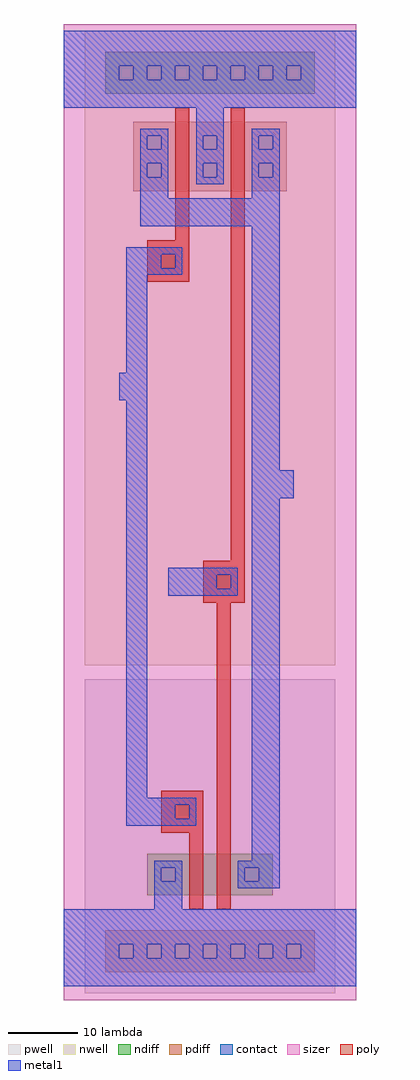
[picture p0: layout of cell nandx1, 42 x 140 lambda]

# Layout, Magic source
magic
tech concept
<< sizer >>
rect 0 0 42 140
<< metal1 >>
rect 0 134 42 139
rect 0 132 8 134
rect 10 132 12 134
rect 14 132 16 134
rect 18 132 20 134
rect 22 132 24 134
rect 26 132 28 134
rect 30 132 32 134
rect 34 132 42 134
rect 0 128 42 132
rect 19 124 23 128
rect 11 124 15 125
rect 27 124 31 125
rect 11 122 12 124
rect 14 122 15 124
rect 19 122 20 124
rect 22 122 23 124
rect 27 122 28 124
rect 30 122 31 124
rect 11 120 15 122
rect 19 120 23 122
rect 27 120 31 122
rect 11 118 12 120
rect 14 118 15 120
rect 19 118 20 120
rect 22 118 23 120
rect 27 118 28 120
rect 30 118 31 120
rect 11 115 15 118
rect 19 117 23 118
rect 27 115 31 118
rect 11 111 31 115
rect 27 76 31 111
rect 9 107 17 108
rect 9 105 14 107
rect 16 105 17 107
rect 9 104 17 105
rect 9 90 12 104
rect 8 86 12 90
rect 9 29 12 86
rect 27 72 33 76
rect 27 20 31 72
rect 15 61 25 62
rect 15 59 22 61
rect 24 59 25 61
rect 15 58 25 59
rect 9 28 19 29
rect 9 26 16 28
rect 18 26 19 28
rect 9 25 19 26
rect 13 19 17 20
rect 25 19 31 20
rect 13 17 14 19
rect 16 17 17 19
rect 25 17 26 19
rect 28 17 31 19
rect 13 13 17 17
rect 25 16 31 17
rect 0 8 42 13
rect 0 6 8 8
rect 10 6 12 8
rect 14 6 16 8
rect 18 6 20 8
rect 22 6 24 8
rect 26 6 28 8
rect 30 6 32 8
rect 34 6 42 8
rect 0 2 42 6
<< contact >>
rect 8 132 10 134
rect 12 132 14 134
rect 16 132 18 134
rect 20 132 22 134
rect 24 132 26 134
rect 28 132 30 134
rect 32 132 34 134
rect 12 122 14 124
rect 20 122 22 124
rect 28 122 30 124
rect 12 118 14 120
rect 20 118 22 120
rect 28 118 30 120
rect 14 105 16 107
rect 22 59 24 61
rect 16 26 18 28
rect 14 17 16 19
rect 26 17 28 19
rect 8 6 10 8
rect 12 6 14 8
rect 16 6 18 8
rect 20 6 22 8
rect 24 6 26 8
rect 28 6 30 8
rect 32 6 34 8
<< poly >>
rect 16 109 18 128
rect 24 63 26 128
rect 12 103 18 109
rect 20 57 26 63
rect 22 13 24 57
rect 14 24 20 30
rect 18 13 20 24
<< ndiff >>
rect 6 130 36 136
rect 12 15 30 21
<< pdiff >>
rect 10 116 32 126
rect 6 4 36 10
<< nwell >>
rect 3 48 39 139
<< pwell >>
rect 3 1 39 46
<< end >>
